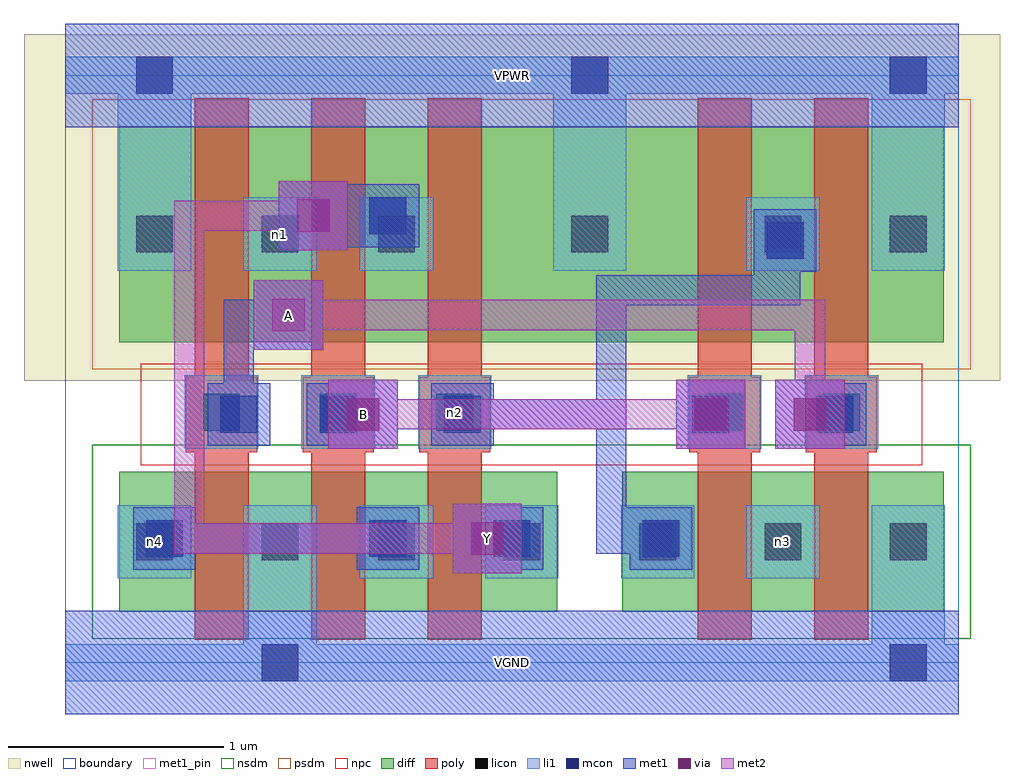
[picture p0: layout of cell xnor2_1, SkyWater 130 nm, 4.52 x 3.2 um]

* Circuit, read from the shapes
.subckt xnor2_1 A B VGND VPWR Y n1 n2 n3 n4
XM1 VGND A n4 VSUBS sky130_fd_pr__nfet_01v8 w=0.65 l=0.25
XM2 n4 B VGND VSUBS sky130_fd_pr__nfet_01v8 w=0.65 l=0.25
XM3 Y n2 n4 VSUBS sky130_fd_pr__nfet_01v8 w=0.65 l=0.25
XM4 n3 B n2 VSUBS sky130_fd_pr__nfet_01v8 w=0.65 l=0.25
XM5 VGND A n3 VSUBS sky130_fd_pr__nfet_01v8 w=0.65 l=0.25
XM6 n1 A VPWR n5 sky130_fd_pr__pfet_01v8 w=1 l=0.25
XM7 Y B n1 n5 sky130_fd_pr__pfet_01v8 w=1 l=0.25
XM8 VPWR n2 Y n5 sky130_fd_pr__pfet_01v8 w=1 l=0.25
XM9 n2 B VPWR n5 sky130_fd_pr__pfet_01v8 w=1 l=0.25
XM10 VPWR A n2 n5 sky130_fd_pr__pfet_01v8 w=1 l=0.25
.ends

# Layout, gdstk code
import gdstk
lib = gdstk.Library(unit=1e-6, precision=1e-09)
def R(c, l, rs):  # rectangles x0, y0, x1, y1
    for r in rs: c.add(gdstk.rectangle(r[:2], r[2:], *l))
def A(c, l, x, y, w, h, nx, ny, dx, dy):  # array of equal rectangles
    R(c, l, [(x+i*dx, y+j*dy, x+i*dx+w, y+j*dy+h) for i in range(nx) for j in range(ny)])
nwell = (64, 20)
diff = (65, 20)
poly = (66, 20)
licon = (66, 44)
li1 = (67, 20)
mcon = (67, 44)
met1_pin = (68, 16)
met1 = (68, 20)
via = (68, 44)
met2 = (69, 20)
nsdm = (93, 44)
psdm = (94, 20)
npc = (95, 20)
boundary = (235, 4)

xnor2_1 = lib.new_cell('xnor2_1')
R(xnor2_1, nwell, [(-0.19,1.305,4.33,2.91), (0,1.305,4.14,2.91)])
R(xnor2_1, diff, [(0.25,0.235,2.28,0.885), (2.58,0.235,4.07,0.885), (0.25,1.485,4.07,2.485)])
A(xnor2_1, poly, 0.6, 0.105, 0.25, 2.51, 3, 1, 0.54, 0)
A(xnor2_1, poly, 0.56, 0.975, 0.33, 0.35, 3, 1, 0.54, 0)
R(xnor2_1, poly, [(2.93,0.105,3.18,2.615), (3.47,0.105,3.72,2.615), (2.89,0.975,3.22,1.325), (3.43,0.975,3.76,1.325)])
A(xnor2_1, licon, 2.66, 0.475, 0.17, 0.17, 3, 1, 0.58, 0)
A(xnor2_1, licon, 0.64, 1.075, 0.17, 0.17, 3, 1, 0.54, 0)
A(xnor2_1, licon, 1.45, 1.9, 0.17, 0.17, 3, 1, 0.895, 0)
R(xnor2_1, licon, [(0.33,0.475,0.5,0.645), (0.91,0.475,1.08,0.645), (1.45,0.475,1.62,0.645), (2.03,0.475,2.2,0.645), (2.97,1.075,3.14,1.245), (3.51,1.075,3.68,1.245), (0.33,1.9,0.5,2.07), (0.91,1.9,1.08,2.07), (3.82,1.9,3.99,2.07)])
A(xnor2_1, li1, 0.555, 0.99, 0.34, 0.34, 3, 1, 0.54, 0)
R(xnor2_1, li1, [(0,-0.085,4.14,0.085), (0.825,-0.085,1.165,0.73), (3.735,-0.085,4.075,0.73), (0.245,0.39,0.585,0.73), (1.365,0.39,1.705,0.73), (1.945,0.39,2.285,0.73), (2.575,0.39,2.915,0.73), (3.155,0.39,3.495,0.73), (2.885,0.99,3.225,1.33), (3.425,0.99,3.765,1.33), (0.245,1.815,0.585,2.805), (0.825,1.815,1.165,2.155), (1.365,1.815,1.705,2.155), (2.26,1.815,2.6,2.805), (3.155,1.815,3.495,2.155), (3.735,1.815,4.075,2.805), (0,2.635,4.14,2.805)])
R(xnor2_1, mcon, [(0.91,-0.085,1.08,0.085), (3.82,-0.085,3.99,0.085), (0.375,0.49,0.545,0.66), (1.41,0.49,1.58,0.66), (1.985,0.49,2.155,0.66), (2.675,0.49,2.845,0.66), (0.72,1.065,0.89,1.235), (1.18,1.065,1.35,1.235), (1.755,1.065,1.925,1.235), (2.905,1.065,3.075,1.235), (3.48,1.065,3.65,1.235), (3.25,1.87,3.42,2.04), (1.41,1.985,1.58,2.155), (0.33,2.635,0.5,2.805), (2.345,2.635,2.515,2.805), (3.82,2.635,3.99,2.805)])
R(xnor2_1, met1_pin, [(0,-0.24,4.14,0.24), (1.795,0.415,2.115,0.735), (1.22,0.99,1.54,1.31), (0.875,1.45,1.195,1.77), (0,2.48,4.14,2.96)])
R(xnor2_1, met1, [(0,-0.24,4.14,0.24), (1.795,0.415,2.115,0.735), (0.315,0.43,0.605,0.72), (1.35,0.43,1.64,0.72), (1.925,0.43,2.215,0.72), (2.615,0.43,2.905,0.72), (0.39,0.505,1.565,0.645), (1.885,0.505,2.14,0.645), (2.46,0.505,2.83,0.645), (2.46,0.505,2.6,1.22), (2.6,0.505,2.615,0.72), (1.22,0.99,1.54,1.31), (2.83,0.99,3.15,1.31), (3.29,0.99,3.61,1.31), (0.66,1.005,0.95,1.295), (1.12,1.005,1.41,1.295), (1.695,1.005,1.985,1.295), (2.845,1.005,3.135,1.295), (3.42,1.005,3.71,1.295), (0.735,1.08,0.875,1.68), (1.195,1.08,1.45,1.22), (1.77,1.08,2.6,1.22), (2.46,1.08,2.6,1.795), (3.38,1.08,3.635,1.22), (0.875,1.45,1.195,1.77), (0.735,1.54,1.105,1.68), (2.46,1.655,3.405,1.795), (3.265,1.655,3.405,2.025), (3.19,1.795,3.405,1.81), (3.19,1.81,3.48,2.1), (0.99,1.91,1.31,2.23), (1.31,1.925,1.35,2.215), (1.35,1.925,1.64,2.215), (1.08,2,1.565,2.14), (0,2.48,4.14,2.96)])
R(xnor2_1, via, [(1.88,0.5,2.03,0.65), (1.305,1.075,1.455,1.225), (2.915,1.075,3.065,1.225), (3.375,1.075,3.525,1.225), (0.96,1.535,1.11,1.685), (1.075,1.995,1.225,2.145)])
R(xnor2_1, met2, [(1.795,0.415,2.115,0.735), (0.505,0.505,2.025,0.645), (0.505,0.505,0.645,2.14), (1.22,0.99,1.54,1.31), (2.83,0.99,3.15,1.31), (3.29,0.99,3.61,1.31), (1.31,1.08,3.06,1.22), (3.38,1.08,3.52,1.68), (0.875,1.45,1.195,1.77), (0.965,1.54,3.52,1.68), (0.99,1.91,1.31,2.23), (0.505,2,1.22,2.14)])
R(xnor2_1, nsdm, [(0.125,0.11,4.195,1.01)])
R(xnor2_1, psdm, [(0.125,1.36,4.195,2.61)])
R(xnor2_1, npc, [(0.35,0.915,3.97,1.385)])
R(xnor2_1, boundary, [(0,0,4.14,2.72)])
xnor2_1.add(gdstk.Label('n2', (1.805,1.16), layer=67, texttype=5))
xnor2_1.add(gdstk.Label('n4', (0.415,0.56), layer=67, texttype=5))
xnor2_1.add(gdstk.Label('n3', (3.325,0.56), layer=67, texttype=5))
xnor2_1.add(gdstk.Label('n1', (0.995,1.985), layer=67, texttype=5))
xnor2_1.add(gdstk.Label('A', (1.035,1.61), layer=68, texttype=5))
xnor2_1.add(gdstk.Label('B', (1.38,1.15), layer=68, texttype=5))
xnor2_1.add(gdstk.Label('Y', (1.955,0.575), layer=68, texttype=5))
xnor2_1.add(gdstk.Label('VPWR', (2.07,2.72), layer=68, texttype=5))
xnor2_1.add(gdstk.Label('VGND', (2.07,0), layer=68, texttype=5))
xnor2_1.add(gdstk.Label('A', (1.035,1.61), layer=68, texttype=16))
xnor2_1.add(gdstk.Label('B', (1.38,1.15), layer=68, texttype=16))
xnor2_1.add(gdstk.Label('Y', (1.955,0.575), layer=68, texttype=16))
xnor2_1.add(gdstk.Label('VPWR', (2.07,2.72), layer=68, texttype=16))
xnor2_1.add(gdstk.Label('VGND', (2.07,0), layer=68, texttype=16))

lib.write_gds('xnor2_1.gds')
